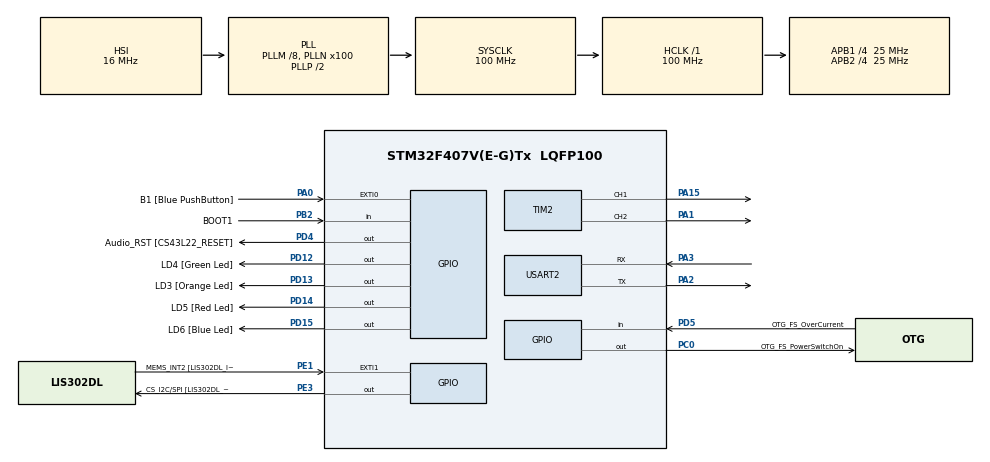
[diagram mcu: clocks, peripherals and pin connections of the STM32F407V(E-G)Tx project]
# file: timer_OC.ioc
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Mcu.Family=STM32F4
Mcu.Name=STM32F407V(E-G)Tx
Mcu.Package=LQFP100
NVIC.PriorityGroup=NVIC_PRIORITYGROUP_0
NVIC.TIM2_IRQn=true\:0\:0\:false\:false\:true\:true\:true\:true
NVIC.USART2_IRQn=true\:0\:0\:false\:false\:true\:true\:true\:true
PA0-WKUP.GPIO_Label=B1 [Blue PushButton]
PA0-WKUP.Signal=GPXTI0
PA1.Signal=S_TIM2_CH2
PA10.GPIO_Label=OTG_FS_ID
PA10.GPIO_Mode=GPIO_MODE_AF_PP
PA10.GPIO_PuPd=GPIO_NOPULL
PA10.GPIO_Speed=GPIO_SPEED_FREQ_LOW
PA10.Signal=USB_OTG_FS_ID
PA11.GPIO_Label=OTG_FS_DM
PA11.GPIO_Mode=GPIO_MODE_AF_PP
PA11.GPIO_PuPd=GPIO_NOPULL
PA11.GPIO_Speed=GPIO_SPEED_FREQ_LOW
PA11.Signal=USB_OTG_FS_DM
PA12.GPIO_Label=OTG_FS_DP
PA12.GPIO_Mode=GPIO_MODE_AF_PP
PA12.GPIO_PuPd=GPIO_NOPULL
PA12.GPIO_Speed=GPIO_SPEED_FREQ_LOW
PA12.Signal=USB_OTG_FS_DP
PA13.GPIO_Label=SWDIO
PA13.Signal=SYS_JTMS-SWDIO
PA14.GPIO_Label=SWCLK
PA14.Signal=SYS_JTCK-SWCLK
PA15.Signal=S_TIM2_CH1_ETR
PA2.Mode=Asynchronous
PA2.Signal=USART2_TX
PA3.Mode=Asynchronous
PA3.Signal=USART2_RX
PA4.GPIO_Label=I2S3_WS [CS43L22_LRCK]
PA4.GPIO_Mode=GPIO_MODE_AF_PP
PA4.GPIO_PuPd=GPIO_NOPULL
PA4.GPIO_Speed=GPIO_SPEED_FREQ_LOW
PA4.Signal=I2S3_WS
PA5.GPIO_Label=SPI1_SCK [LIS302DL_SCL/SPC]
PA5.GPIO_Mode=GPIO_MODE_AF_PP
PA5.GPIO_PuPd=GPIO_NOPULL
PA5.GPIO_Speed=GPIO_SPEED_FREQ_LOW
PA5.Signal=SPI1_SCK
PA6.GPIO_Label=SPI1_MISO [LIS302DL_SDO]
PA6.GPIO_Mode=GPIO_MODE_AF_PP
PA6.GPIO_PuPd=GPIO_NOPULL
PA6.GPIO_Speed=GPIO_SPEED_FREQ_LOW
PA6.Signal=SPI1_MISO
PA7.GPIO_Label=SPI1_MOSI [LIS302DL_SDA/SDI/SDO]
PA7.GPIO_Mode=GPIO_MODE_AF_PP
PA7.GPIO_PuPd=GPIO_NOPULL
PA7.GPIO_Speed=GPIO_SPEED_FREQ_LOW
PA7.Signal=SPI1_MOSI
PA9.GPIO_Label=VBUS_FS
PA9.GPIO_Mode=GPIO_MODE_INPUT
PA9.GPIO_PuPd=GPIO_NOPULL
PA9.Signal=USB_OTG_FS_VBUS
PB10.GPIO_Label=CLK_IN [MP45DT02_CLK]
PB10.GPIO_Mode=GPIO_MODE_AF_PP
PB10.GPIO_PuPd=GPIO_NOPULL
PB10.GPIO_Speed=GPIO_SPEED_FREQ_LOW
PB10.Signal=I2S2_CK
PB2.GPIO_Label=BOOT1
PB2.GPIO_Mode=GPIO_MODE_INPUT
PB2.GPIO_PuPd=GPIO_NOPULL
PB2.Signal=GPIO_Input
PB3.GPIO_Label=SWO
PB3.Signal=SYS_JTDO-SWO
PB6.GPIO_Label=Audio_SCL [CS43L22_SCL]
PB6.GPIO_Mode=GPIO_MODE_AF_OD
PB6.GPIO_PuPd=GPIO_NOPULL
PB6.GPIO_Speed=GPIO_SPEED_FREQ_LOW
PB6.Signal=I2C1_SCL
PB9.GPIO_Label=Audio_SDA [CS43L22_SDA]
PB9.GPIO_Mode=GPIO_MODE_AF_OD
PB9.GPIO_PuPd=GPIO_NOPULL
PB9.GPIO_Speed=GPIO_SPEED_FREQ_LOW
PB9.Signal=I2C1_SDA
PC0.GPIO_Label=OTG_FS_PowerSwitchOn
PC0.GPIO_PuPd=GPIO_NOPULL
PC0.GPIO_Speed=GPIO_SPEED_FREQ_LOW
PC0.PinState=GPIO_PIN_SET
PC0.Signal=GPIO_Output
PC10.GPIO_Label=I2S3_SCK [CS43L22_SCLK]
PC10.GPIO_Mode=GPIO_MODE_AF_PP
PC10.GPIO_PuPd=GPIO_NOPULL
PC10.GPIO_Speed=GPIO_SPEED_FREQ_LOW
PC10.Signal=I2S3_CK
PC12.GPIO_Label=I2S3_SD [CS43L22_SDIN]
PC12.GPIO_Mode=GPIO_MODE_AF_PP
PC12.GPIO_PuPd=GPIO_NOPULL
PC12.GPIO_Speed=GPIO_SPEED_FREQ_LOW
PC12.Signal=I2S3_SD
PC14-OSC32_IN.GPIO_Label=PC14-OSC32_IN
PC14-OSC32_IN.Signal=RCC_OSC32_IN
PC15-OSC32_OUT.GPIO_Label=PC15-OSC32_OUT
PC15-OSC32_OUT.Signal=RCC_OSC32_OUT
PC3.GPIO_Label=PDM_OUT [MP45DT02_DOUT]
PC3.GPIO_Mode=GPIO_MODE_AF_PP
PC3.GPIO_PuPd=GPIO_NOPULL
PC3.GPIO_Speed=GPIO_SPEED_FREQ_LOW
PC3.Signal=I2S2_SD
PC7.GPIO_Label=I2S3_MCK [CS43L22_MCLK]
PC7.GPIO_Mode=GPIO_MODE_AF_PP
PC7.GPIO_PuPd=GPIO_NOPULL
PC7.GPIO_Speed=GPIO_SPEED_FREQ_LOW
PC7.Signal=I2S3_MCK
PD12.GPIO_Label=LD4 [Green Led]
PD12.GPIO_PuPd=GPIO_NOPULL
PD12.GPIO_Speed=GPIO_SPEED_FREQ_LOW
PD12.Signal=GPIO_Output
PD13.GPIO_Label=LD3 [Orange Led]
PD13.GPIO_PuPd=GPIO_NOPULL
PD13.GPIO_Speed=GPIO_SPEED_FREQ_LOW
PD13.Signal=GPIO_Output
PD14.GPIO_Label=LD5 [Red Led]
PD14.GPIO_PuPd=GPIO_NOPULL
PD14.GPIO_Speed=GPIO_SPEED_FREQ_LOW
PD14.Signal=GPIO_Output
PD15.GPIO_Label=LD6 [Blue Led]
PD15.GPIO_PuPd=GPIO_NOPULL
PD15.GPIO_Speed=GPIO_SPEED_FREQ_LOW
PD15.Signal=GPIO_Output
PD4.GPIO_Label=Audio_RST [CS43L22_RESET]
PD4.GPIO_PuPd=GPIO_NOPULL
PD4.GPIO_Speed=GPIO_SPEED_FREQ_LOW
PD4.Signal=GPIO_Output
PD5.GPIO_Label=OTG_FS_OverCurrent
PD5.GPIO_Mode=GPIO_MODE_INPUT
PD5.GPIO_PuPd=GPIO_NOPULL
PD5.Signal=GPIO_Input
PE1.GPIO_Label=MEMS_INT2 [LIS302DL_INT2]
PE1.GPIO_ModeDefaultEXTI=GPIO_MODE_EVT_RISING
PE1.GPIO_PuPd=GPIO_NOPULL
PE1.Signal=GPXTI1
PE3.GPIO_Label=CS_I2C/SPI [LIS302DL_CS_I2C/SPI]
PE3.GPIO_PuPd=GPIO_NOPULL
PE3.GPIO_Speed=GPIO_SPEED_FREQ_LOW
PE3.Signal=GPIO_Output
PH0-OSC_IN.GPIO_Label=PH0-OSC_IN
PH0-OSC_IN.Signal=RCC_OSC_IN
PH1-OSC_OUT.GPIO_Label=PH1-OSC_OUT
PH1-OSC_OUT.Signal=RCC_OSC_OUT
ProjectManager.HeapSize=0x200
ProjectManager.StackSize=0x400
ProjectManager.TargetToolchain=STM32CubeIDE
RCC.48MHZClocksFreq_Value=28571428.57142857
RCC.AHBFreq_Value=100000000
RCC.APB1CLKDivider=RCC_HCLK_DIV4
RCC.APB1Freq_Value=25000000
RCC.APB1TimFreq_Value=50000000
RCC.APB2CLKDivider=RCC_HCLK_DIV4
RCC.APB2Freq_Value=25000000
RCC.APB2TimFreq_Value=50000000
RCC.CortexFreq_Value=100000000
RCC.HCLKFreq_Value=100000000
RCC.HSE_VALUE=8000000
RCC.HSI_VALUE=16000000
RCC.LSE_VALUE=32768
RCC.PLLM=8
RCC.PLLN=100
RCC.PLLQ=7
RCC.SYSCLKFreq_VALUE=100000000
RCC.SYSCLKSource=RCC_SYSCLKSOURCE_PLLCLK
RCC.VCOOutputFreq_Value=200000000
SH.S_TIM2_CH1_ETR.0=TIM2_CH1,Output Compare1 CH1
SH.S_TIM2_CH2.0=TIM2_CH2,Output Compare2 CH2
TIM2.AutoReloadPreload=TIM_AUTORELOAD_PRELOAD_ENABLE
TIM2.Channel-Output\ Compare1\ CH1=TIM_CHANNEL_1
TIM2.Channel-Output\ Compare2\ CH2=TIM_CHANNEL_2
TIM2.OCMode_1=TIM_OCMODE_TOGGLE
TIM2.OCMode_2=TIM_OCMODE_TOGGLE
USART2.VirtualMode=VM_ASYNC
VP_TIM2_VS_ClockSourceINT.Mode=Internal
board=STM32F407G-DISC1

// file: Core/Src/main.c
/* USER CODE BEGIN Header */
/**
 ******************************************************************************
 * @file           : main.c
 * @brief          : Main program body
 ******************************************************************************
 * @attention
 *
 * Copyright (c) 2024 STMicroelectronics.
 * All rights reserved.
 *
 * This software is licensed under terms that can be found in the LICENSE file
 * in the root directory of this software component.
 * If no LICENSE file comes with this software, it is provided AS-IS.
 *
 ******************************************************************************
 */
/* USER CODE END Header */
#include "main.h"

/* USER CODE BEGIN Includes */
#include <string.h>
#include <stdio.h>
#include <stdarg.h>
#include <stdlib.h>
/* USER CODE END Includes */

TIM_HandleTypeDef htim2;
UART_HandleTypeDef huart2;

/* USER CODE BEGIN PV */
volatile uint32_t pulse1_value = 50000000; // 1 second between toggle
volatile uint32_t pulse2_value = 25000000; //to produce 500Hz
volatile uint32_t ccr_content;
/* USER CODE END PV */

void SystemClock_Config(void);
static void MX_GPIO_Init(void);
static void MX_TIM2_Init(void);
static void MX_USART2_UART_Init(void);
/* USER CODE BEGIN PFP */
void logUART(const char *format, ...);

/* USER CODE END PFP */

/* USER CODE BEGIN 0 */
/**
 * Callback when the the CCR register matches the pulse value.
 */
void HAL_TIM_OC_DelayElapsedCallback(TIM_HandleTypeDef *htim) {
	/* TIM2_CH1 toggling with frequency = 500 Hz */
	if (htim->Channel == HAL_TIM_ACTIVE_CHANNEL_1) {
		ccr_content = HAL_TIM_ReadCapturedValue(htim, TIM_CHANNEL_1);

		HAL_GPIO_TogglePin(LD4_GPIO_Port, LD4_Pin);

		// Set the output of the GPIO as the increment of ccr value + pulse value.
		__HAL_TIM_SET_COMPARE(htim, TIM_CHANNEL_1, ccr_content + pulse1_value);
	}

	if (htim->Channel == HAL_TIM_ACTIVE_CHANNEL_2) {
		ccr_content = HAL_TIM_ReadCapturedValue(htim, TIM_CHANNEL_2);

		HAL_GPIO_TogglePin(LD6_GPIO_Port, LD6_Pin);

		// Set the output of the GPIO as the increment of ccr value + pulse value.
		__HAL_TIM_SET_COMPARE(htim, TIM_CHANNEL_2, ccr_content + pulse2_value);
	}

}

/**
 * Logging to UART to help debug.
 */
void logUART(const char *format, ...) {
	char usr_msg[100]; // Buffer for the formatted message
	va_list args;

	// Initialize the va_list variable with the last known fixed parameter (in this case, 'format')
	va_start(args, format);

	// Use vsnprintf to safely format the string into usr_msg
	// vsnprintf returns the number of characters that would have been written if usr_msg had been sufficiently large
	vsnprintf(usr_msg, sizeof(usr_msg), format, args);

	// Clean up the va_list when we're done with it
	va_end(args);

	// Transmit the formatted string via UART
	HAL_UART_Transmit(&huart2, (uint8_t*) usr_msg, strlen(usr_msg),
	HAL_MAX_DELAY);
}

/* USER CODE END 0 */

int main(void) {

	/* MCU Configuration--------------------------------------------------------*/

	/* Reset of all peripherals, Initializes the Flash interface and the Systick. */
	HAL_Init();

	/* USER CODE BEGIN Init */
	MX_USART2_UART_Init();

	/* USER CODE END Init */

	/* Configure the system clock */
	SystemClock_Config();

	/* Initialize all configured peripherals */
	MX_GPIO_Init();
	MX_TIM2_Init();
	MX_USART2_UART_Init();
	/* USER CODE BEGIN 2 */
	if (HAL_TIM_Base_Start_IT(&htim2) != HAL_OK) {
		logUART("Error initializing Base!!\r\n");
		Error_Handler();
	}
	if (HAL_TIM_OC_Start_IT(&htim2, TIM_CHANNEL_1) != HAL_OK) {
		logUART("Error initializing OC!!\r\n");
		Error_Handler();
	}
	if (HAL_TIM_OC_Start_IT(&htim2, TIM_CHANNEL_2) != HAL_OK) {
		logUART("Error initializing OC!!\r\n");
		Error_Handler();
	}
	logUART("Finish init OC %d\r\n", HAL_RCC_GetPCLK1Freq());

	/* USER CODE END 2 */

	/* Infinite loop */
	while (1) {

	}
}

void SystemClock_Config(void) {
	RCC_OscInitTypeDef RCC_OscInitStruct = { 0 };
	RCC_ClkInitTypeDef RCC_ClkInitStruct = { 0 };

	/** Configure the main internal regulator output voltage
	 */
	__HAL_RCC_PWR_CLK_ENABLE();
	__HAL_PWR_VOLTAGESCALING_CONFIG(PWR_REGULATOR_VOLTAGE_SCALE1);

	/** Initializes the RCC Oscillators according to the specified parameters
	 * in the RCC_OscInitTypeDef structure.
	 */
	RCC_OscInitStruct.OscillatorType = RCC_OSCILLATORTYPE_HSI;
	RCC_OscInitStruct.HSIState = RCC_HSI_ON;
	RCC_OscInitStruct.HSICalibrationValue = RCC_HSICALIBRATION_DEFAULT;
	RCC_OscInitStruct.PLL.PLLState = RCC_PLL_ON;
	RCC_OscInitStruct.PLL.PLLSource = RCC_PLLSOURCE_HSI;
	RCC_OscInitStruct.PLL.PLLM = 8;
	RCC_OscInitStruct.PLL.PLLN = 100;
	RCC_OscInitStruct.PLL.PLLP = RCC_PLLP_DIV2;
	RCC_OscInitStruct.PLL.PLLQ = 7;
	if (HAL_RCC_OscConfig(&RCC_OscInitStruct) != HAL_OK) {
		Error_Handler();
	}

	/** Initializes the CPU, AHB and APB buses clocks
	 */
	RCC_ClkInitStruct.ClockType = RCC_CLOCKTYPE_HCLK | RCC_CLOCKTYPE_SYSCLK
			| RCC_CLOCKTYPE_PCLK1 | RCC_CLOCKTYPE_PCLK2;
	RCC_ClkInitStruct.SYSCLKSource = RCC_SYSCLKSOURCE_PLLCLK;
	RCC_ClkInitStruct.AHBCLKDivider = RCC_SYSCLK_DIV1;
	RCC_ClkInitStruct.APB1CLKDivider = RCC_HCLK_DIV4;
	RCC_ClkInitStruct.APB2CLKDivider = RCC_HCLK_DIV4;

	if (HAL_RCC_ClockConfig(&RCC_ClkInitStruct, FLASH_LATENCY_3) != HAL_OK) {
		Error_Handler();
	}
}

static void MX_TIM2_Init(void) {

	TIM_ClockConfigTypeDef sClockSourceConfig = { 0 };
	TIM_MasterConfigTypeDef sMasterConfig = { 0 };
	TIM_OC_InitTypeDef sConfigOC = { 0 };

	htim2.Instance = TIM2;
	htim2.Init.Prescaler = 0;
	htim2.Init.CounterMode = TIM_COUNTERMODE_UP;
	htim2.Init.Period = 4294967295;
	htim2.Init.ClockDivision = TIM_CLOCKDIVISION_DIV1;
	htim2.Init.AutoReloadPreload = TIM_AUTORELOAD_PRELOAD_ENABLE;
	if (HAL_TIM_Base_Init(&htim2) != HAL_OK) {
		Error_Handler();
	}
	sClockSourceConfig.ClockSource = TIM_CLOCKSOURCE_INTERNAL;
	if (HAL_TIM_ConfigClockSource(&htim2, &sClockSourceConfig) != HAL_OK) {
		Error_Handler();
	}
	if (HAL_TIM_OC_Init(&htim2) != HAL_OK) {
		Error_Handler();
	}
	sMasterConfig.MasterOutputTrigger = TIM_TRGO_RESET;
	sMasterConfig.MasterSlaveMode = TIM_MASTERSLAVEMODE_DISABLE;
	if (HAL_TIMEx_MasterConfigSynchronization(&htim2, &sMasterConfig)
			!= HAL_OK) {
		Error_Handler();
	}
	sConfigOC.OCMode = TIM_OCMODE_TOGGLE;
	sConfigOC.Pulse = 0;
	sConfigOC.OCPolarity = TIM_OCPOLARITY_HIGH;
	sConfigOC.OCFastMode = TIM_OCFAST_DISABLE;
	if (HAL_TIM_OC_ConfigChannel(&htim2, &sConfigOC, TIM_CHANNEL_1) != HAL_OK) {
		Error_Handler();
	}
	if (HAL_TIM_OC_ConfigChannel(&htim2, &sConfigOC, TIM_CHANNEL_2) != HAL_OK) {
		Error_Handler();
	}
	/* USER CODE BEGIN TIM2_Init 2 */
	sConfigOC.Pulse = pulse1_value;
	if (HAL_TIM_OC_ConfigChannel(&htim2, &sConfigOC, TIM_CHANNEL_1) != HAL_OK) {
		Error_Handler();
	}

	sConfigOC.Pulse = pulse2_value;
	if (HAL_TIM_OC_ConfigChannel(&htim2, &sConfigOC, TIM_CHANNEL_2) != HAL_OK) {
		Error_Handler();
	}

	/* USER CODE END TIM2_Init 2 */
	HAL_TIM_MspPostInit(&htim2);

}

static void MX_USART2_UART_Init(void) {

	huart2.Instance = USART2;
	huart2.Init.BaudRate = 115200;
	huart2.Init.WordLength = UART_WORDLENGTH_8B;
	huart2.Init.StopBits = UART_STOPBITS_1;
	huart2.Init.Parity = UART_PARITY_NONE;
	huart2.Init.Mode = UART_MODE_TX_RX;
	huart2.Init.HwFlowCtl = UART_HWCONTROL_NONE;
	huart2.Init.OverSampling = UART_OVERSAMPLING_16;
	if (HAL_UART_Init(&huart2) != HAL_OK) {
		Error_Handler();
	}

}

static void MX_GPIO_Init(void) {
	GPIO_InitTypeDef GPIO_InitStruct = { 0 };

	/* GPIO Ports Clock Enable */
	__HAL_RCC_GPIOE_CLK_ENABLE();
	__HAL_RCC_GPIOC_CLK_ENABLE();
	__HAL_RCC_GPIOH_CLK_ENABLE();
	__HAL_RCC_GPIOA_CLK_ENABLE();
	__HAL_RCC_GPIOB_CLK_ENABLE();
	__HAL_RCC_GPIOD_CLK_ENABLE();

	/*Configure GPIO pin Output Level */
	HAL_GPIO_WritePin(CS_I2C_SPI_GPIO_Port, CS_I2C_SPI_Pin, GPIO_PIN_RESET);

	/*Configure GPIO pin Output Level */
	HAL_GPIO_WritePin(OTG_FS_PowerSwitchOn_GPIO_Port, OTG_FS_PowerSwitchOn_Pin,
			GPIO_PIN_SET);

	/*Configure GPIO pin Output Level */
	HAL_GPIO_WritePin(GPIOD,
			LD4_Pin | LD3_Pin | LD5_Pin | LD6_Pin | Audio_RST_Pin,
			GPIO_PIN_RESET);

	/*Configure GPIO pin : CS_I2C_SPI_Pin */
	GPIO_InitStruct.Pin = CS_I2C_SPI_Pin;
	GPIO_InitStruct.Mode = GPIO_MODE_OUTPUT_PP;
	GPIO_InitStruct.Pull = GPIO_NOPULL;
	GPIO_InitStruct.Speed = GPIO_SPEED_FREQ_LOW;
	HAL_GPIO_Init(CS_I2C_SPI_GPIO_Port, &GPIO_InitStruct);

	/*Configure GPIO pin : OTG_FS_PowerSwitchOn_Pin */
	GPIO_InitStruct.Pin = OTG_FS_PowerSwitchOn_Pin;
	GPIO_InitStruct.Mode = GPIO_MODE_OUTPUT_PP;
	GPIO_InitStruct.Pull = GPIO_NOPULL;
	GPIO_InitStruct.Speed = GPIO_SPEED_FREQ_LOW;
	HAL_GPIO_Init(OTG_FS_PowerSwitchOn_GPIO_Port, &GPIO_InitStruct);

	/*Configure GPIO pin : PDM_OUT_Pin */
	GPIO_InitStruct.Pin = PDM_OUT_Pin;
	GPIO_InitStruct.Mode = GPIO_MODE_AF_PP;
	GPIO_InitStruct.Pull = GPIO_NOPULL;
	GPIO_InitStruct.Speed = GPIO_SPEED_FREQ_LOW;
	GPIO_InitStruct.Alternate = GPIO_AF5_SPI2;
	HAL_GPIO_Init(PDM_OUT_GPIO_Port, &GPIO_InitStruct);

	/*Configure GPIO pin : B1_Pin */
	GPIO_InitStruct.Pin = B1_Pin;
	GPIO_InitStruct.Mode = GPIO_MODE_IT_RISING;
	GPIO_InitStruct.Pull = GPIO_NOPULL;
	HAL_GPIO_Init(B1_GPIO_Port, &GPIO_InitStruct);

	/*Configure GPIO pin : I2S3_WS_Pin */
	GPIO_InitStruct.Pin = I2S3_WS_Pin;
	GPIO_InitStruct.Mode = GPIO_MODE_AF_PP;
	GPIO_InitStruct.Pull = GPIO_NOPULL;
	GPIO_InitStruct.Speed = GPIO_SPEED_FREQ_LOW;
	GPIO_InitStruct.Alternate = GPIO_AF6_SPI3;
	HAL_GPIO_Init(I2S3_WS_GPIO_Port, &GPIO_InitStruct);

	/*Configure GPIO pins : SPI1_SCK_Pin SPI1_MISO_Pin SPI1_MOSI_Pin */
	GPIO_InitStruct.Pin = SPI1_SCK_Pin | SPI1_MISO_Pin | SPI1_MOSI_Pin;
	GPIO_InitStruct.Mode = GPIO_MODE_AF_PP;
	GPIO_InitStruct.Pull = GPIO_NOPULL;
	GPIO_InitStruct.Speed = GPIO_SPEED_FREQ_LOW;
	GPIO_InitStruct.Alternate = GPIO_AF5_SPI1;
	HAL_GPIO_Init(GPIOA, &GPIO_InitStruct);

	/*Configure GPIO pin : BOOT1_Pin */
	GPIO_InitStruct.Pin = BOOT1_Pin;
	GPIO_InitStruct.Mode = GPIO_MODE_INPUT;
	GPIO_InitStruct.Pull = GPIO_NOPULL;
	HAL_GPIO_Init(BOOT1_GPIO_Port, &GPIO_InitStruct);

	/*Configure GPIO pin : CLK_IN_Pin */
	GPIO_InitStruct.Pin = CLK_IN_Pin;
	GPIO_InitStruct.Mode = GPIO_MODE_AF_PP;
	GPIO_InitStruct.Pull = GPIO_NOPULL;
	GPIO_InitStruct.Speed = GPIO_SPEED_FREQ_LOW;
	GPIO_InitStruct.Alternate = GPIO_AF5_SPI2;
	HAL_GPIO_Init(CLK_IN_GPIO_Port, &GPIO_InitStruct);

	/*Configure GPIO pins : LD4_Pin LD3_Pin LD5_Pin LD6_Pin
	 Audio_RST_Pin */
	GPIO_InitStruct.Pin = LD4_Pin | LD3_Pin | LD5_Pin | LD6_Pin | Audio_RST_Pin;
	GPIO_InitStruct.Mode = GPIO_MODE_OUTPUT_PP;
	GPIO_InitStruct.Pull = GPIO_NOPULL;
	GPIO_InitStruct.Speed = GPIO_SPEED_FREQ_LOW;
	HAL_GPIO_Init(GPIOD, &GPIO_InitStruct);

	/*Configure GPIO pins : I2S3_MCK_Pin I2S3_SCK_Pin I2S3_SD_Pin */
	GPIO_InitStruct.Pin = I2S3_MCK_Pin | I2S3_SCK_Pin | I2S3_SD_Pin;
	GPIO_InitStruct.Mode = GPIO_MODE_AF_PP;
	GPIO_InitStruct.Pull = GPIO_NOPULL;
	GPIO_InitStruct.Speed = GPIO_SPEED_FREQ_LOW;
	GPIO_InitStruct.Alternate = GPIO_AF6_SPI3;
	HAL_GPIO_Init(GPIOC, &GPIO_InitStruct);

	/*Configure GPIO pin : VBUS_FS_Pin */
	GPIO_InitStruct.Pin = VBUS_FS_Pin;
	GPIO_InitStruct.Mode = GPIO_MODE_INPUT;
	GPIO_InitStruct.Pull = GPIO_NOPULL;
	HAL_GPIO_Init(VBUS_FS_GPIO_Port, &GPIO_InitStruct);

	/*Configure GPIO pins : OTG_FS_ID_Pin OTG_FS_DM_Pin OTG_FS_DP_Pin */
	GPIO_InitStruct.Pin = OTG_FS_ID_Pin | OTG_FS_DM_Pin | OTG_FS_DP_Pin;
	GPIO_InitStruct.Mode = GPIO_MODE_AF_PP;
	GPIO_InitStruct.Pull = GPIO_NOPULL;
	GPIO_InitStruct.Speed = GPIO_SPEED_FREQ_LOW;
	GPIO_InitStruct.Alternate = GPIO_AF10_OTG_FS;
	HAL_GPIO_Init(GPIOA, &GPIO_InitStruct);

	/*Configure GPIO pin : OTG_FS_OverCurrent_Pin */
	GPIO_InitStruct.Pin = OTG_FS_OverCurrent_Pin;
	GPIO_InitStruct.Mode = GPIO_MODE_INPUT;
	GPIO_InitStruct.Pull = GPIO_NOPULL;
	HAL_GPIO_Init(OTG_FS_OverCurrent_GPIO_Port, &GPIO_InitStruct);

	/*Configure GPIO pins : Audio_SCL_Pin Audio_SDA_Pin */
	GPIO_InitStruct.Pin = Audio_SCL_Pin | Audio_SDA_Pin;
	GPIO_InitStruct.Mode = GPIO_MODE_AF_OD;
	GPIO_InitStruct.Pull = GPIO_NOPULL;
	GPIO_InitStruct.Speed = GPIO_SPEED_FREQ_LOW;
	GPIO_InitStruct.Alternate = GPIO_AF4_I2C1;
	HAL_GPIO_Init(GPIOB, &GPIO_InitStruct);

	/*Configure GPIO pin : MEMS_INT2_Pin */
	GPIO_InitStruct.Pin = MEMS_INT2_Pin;
	GPIO_InitStruct.Mode = GPIO_MODE_EVT_RISING;
	GPIO_InitStruct.Pull = GPIO_NOPULL;
	HAL_GPIO_Init(MEMS_INT2_GPIO_Port, &GPIO_InitStruct);

}

void Error_Handler(void) {
	__disable_irq();
	while (1) {
	}
}
